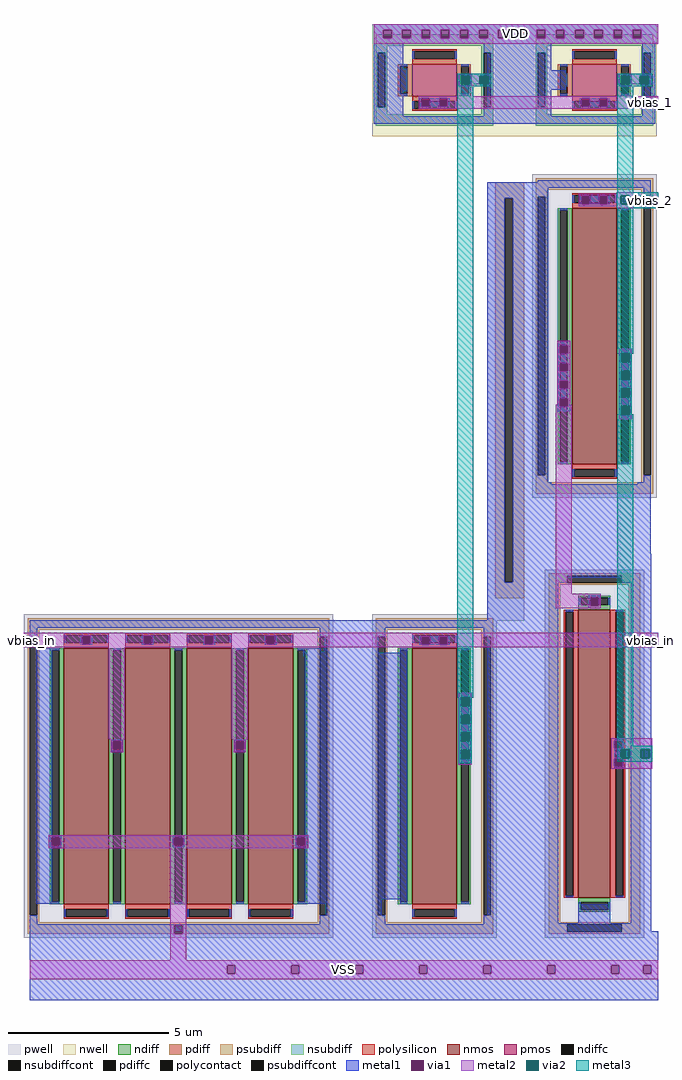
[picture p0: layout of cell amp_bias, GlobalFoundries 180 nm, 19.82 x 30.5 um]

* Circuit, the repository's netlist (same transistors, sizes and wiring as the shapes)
** sch_path: /foss/designs/ttgf-ece298-analog-op-amp/xschem/amp_bias.sch
.subckt amp_bias VDD vbias_in vbias_1 vbias_2 VSS
*.iopin VDD
*.iopin VSS
*.opin vbias_1
*.opin vbias_2
*.ipin vbias_in
XM1 vbias_in vbias_in VSS VSS nfet_03v3 L=1.4u W=32u nf=4 ad='int((nf+1)/2) * W/nf * 0.18u' as='int((nf+2)/2) * W/nf * 0.18u' pd='2*int((nf+1)/2) * (W/nf + 0.18u)'
+ ps='2*int((nf+2)/2) * (W/nf + 0.18u)' nrd='0.18u / W' nrs='0.18u / W' sa=0 sb=0 sd=0
XM3 vbias_1 vbias_in VSS VSS nfet_03v3 L=1.4u W=8u nf=1 ad='int((nf+1)/2) * W/nf * 0.18u' as='int((nf+2)/2) * W/nf * 0.18u' pd='2*int((nf+1)/2) * (W/nf + 0.18u)'
+ ps='2*int((nf+2)/2) * (W/nf + 0.18u)' nrd='0.18u / W' nrs='0.18u / W' sa=0 sb=0 sd=0
XM4 vbias_1 vbias_1 VDD VDD pfet_03v3 L=1.4u W=1u nf=1 ad='int((nf+1)/2) * W/nf * 0.18u' as='int((nf+2)/2) * W/nf * 0.18u' pd='2*int((nf+1)/2) * (W/nf + 0.18u)'
+ ps='2*int((nf+2)/2) * (W/nf + 0.18u)' nrd='0.18u / W' nrs='0.18u / W' sa=0 sb=0 sd=0
XM5 vbias_2 vbias_1 VDD VDD pfet_03v3 L=1.4u W=1u nf=1 ad='int((nf+1)/2) * W/nf * 0.18u' as='int((nf+2)/2) * W/nf * 0.18u' pd='2*int((nf+1)/2) * (W/nf + 0.18u)'
+ ps='2*int((nf+2)/2) * (W/nf + 0.18u)' nrd='0.18u / W' nrs='0.18u / W' sa=0 sb=0 sd=0
XM7 net1 vbias_2 VSS VSS nfet_03v3 L=9u W=1u nf=1 ad='int((nf+1)/2) * W/nf * 0.18u' as='int((nf+2)/2) * W/nf * 0.18u' pd='2*int((nf+1)/2) * (W/nf + 0.18u)'
+ ps='2*int((nf+2)/2) * (W/nf + 0.18u)' nrd='0.18u / W' nrs='0.18u / W' sa=0 sb=0 sd=0
XM8 vbias_2 vbias_2 net1 VSS nfet_03v3 L=1.4u W=8u nf=1 ad='int((nf+1)/2) * W/nf * 0.18u' as='int((nf+2)/2) * W/nf * 0.18u' pd='2*int((nf+1)/2) * (W/nf + 0.18u)'
+ ps='2*int((nf+2)/2) * (W/nf + 0.18u)' nrd='0.18u / W' nrs='0.18u / W' sa=0 sb=0 sd=0
.ends
.end

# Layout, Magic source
magic
tech gf180mcuD
magscale 1 10
<< nwell >>
rect 2480 -10950 4260 -10250
<< pwell >>
rect 3200 -13980 3430 -11240
<< psubdiff >>
rect 3250 -11340 3430 -11240
rect 3250 -13740 3310 -11340
rect 3358 -13740 3430 -11340
rect 3250 -13840 3430 -13740
<< psubdiffcont >>
rect 3310 -13740 3358 -11340
<< metal1 >>
rect 2490 -10286 4268 -10250
rect 2490 -10338 2550 -10286
rect 2602 -10338 2670 -10286
rect 2722 -10338 2790 -10286
rect 2842 -10338 2910 -10286
rect 2962 -10338 3030 -10286
rect 3082 -10338 3150 -10286
rect 3202 -10338 3270 -10286
rect 3322 -10338 3390 -10286
rect 3442 -10338 3510 -10286
rect 3562 -10338 3630 -10286
rect 3682 -10338 3750 -10286
rect 3802 -10338 3870 -10286
rect 3922 -10338 3990 -10286
rect 4042 -10338 4110 -10286
rect 4162 -10338 4268 -10286
rect 2490 -10373 4268 -10338
rect 2490 -10530 2676 -10373
rect 2490 -10670 2700 -10530
rect 3200 -10540 3600 -10373
rect 3200 -10560 3690 -10540
rect 3022 -10574 3102 -10560
rect 3022 -10626 3036 -10574
rect 3088 -10626 3102 -10574
rect 3022 -10640 3102 -10626
rect 3200 -10640 3700 -10560
rect 4022 -10574 4102 -10560
rect 4022 -10626 4036 -10574
rect 4088 -10626 4102 -10574
rect 4022 -10640 4102 -10626
rect 3200 -10660 3690 -10640
rect 2490 -10827 2676 -10670
rect 2775 -10766 2789 -10714
rect 2841 -10766 2899 -10714
rect 2951 -10766 2965 -10714
rect 3200 -10827 3600 -10660
rect 3775 -10766 3789 -10714
rect 3841 -10766 3899 -10714
rect 3951 -10766 3965 -10714
rect 4170 -10827 4250 -10373
rect 2490 -10873 4250 -10827
rect 3200 -11340 3580 -11240
rect 3200 -13740 3310 -11340
rect 3358 -13114 3580 -11340
rect 3775 -11376 3789 -11324
rect 3841 -11376 3899 -11324
rect 3951 -11376 3965 -11324
rect 3638 -12259 3718 -12230
rect 3638 -12311 3652 -12259
rect 3704 -12311 3718 -12259
rect 3638 -12369 3718 -12311
rect 3638 -12421 3652 -12369
rect 3704 -12421 3718 -12369
rect 3638 -12479 3718 -12421
rect 3638 -12531 3652 -12479
rect 3704 -12531 3718 -12479
rect 3638 -12589 3718 -12531
rect 3638 -12641 3652 -12589
rect 3704 -12641 3718 -12589
rect 3638 -12670 3718 -12641
rect 4022 -12309 4102 -12280
rect 4022 -12361 4036 -12309
rect 4088 -12361 4102 -12309
rect 4022 -12419 4102 -12361
rect 4022 -12471 4036 -12419
rect 4088 -12471 4102 -12419
rect 4022 -12529 4102 -12471
rect 4022 -12581 4036 -12529
rect 4088 -12581 4102 -12529
rect 4022 -12639 4102 -12581
rect 4022 -12691 4036 -12639
rect 4088 -12691 4102 -12639
rect 4022 -12720 4102 -12691
rect 3358 -13160 3600 -13114
rect 4140 -13160 4223 -13114
rect 3358 -13560 4223 -13160
rect 3358 -13710 4224 -13560
rect 3358 -13740 3630 -13710
rect 658 -14072 730 -14070
rect 1042 -14072 1114 -14070
rect 1426 -14072 1498 -14070
rect 1810 -14072 1882 -14070
rect 656 -14124 668 -14072
rect 720 -14124 732 -14072
rect 656 -14130 732 -14124
rect 1040 -14124 1052 -14072
rect 1104 -14124 1116 -14072
rect 1040 -14130 1116 -14124
rect 1424 -14124 1436 -14072
rect 1488 -14124 1500 -14072
rect 1424 -14130 1500 -14124
rect 1808 -14124 1820 -14072
rect 1872 -14124 1884 -14072
rect 1808 -14130 1884 -14124
rect 380 -15324 480 -14152
rect 2050 -14174 2160 -14152
rect 2180 -14174 2520 -13977
rect 2775 -14131 2789 -14079
rect 2841 -14131 2899 -14079
rect 2951 -14131 2965 -14079
rect 2050 -14180 2520 -14174
rect 2655 -14180 2701 -14152
rect 2050 -14202 2701 -14180
rect 2060 -14560 2701 -14202
rect 2060 -14640 2189 -14560
rect 2190 -14640 2701 -14560
rect 850 -14734 922 -14724
rect 850 -14786 860 -14734
rect 912 -14786 922 -14734
rect 850 -14796 922 -14786
rect 1618 -14734 1690 -14724
rect 1618 -14786 1628 -14734
rect 1680 -14786 1690 -14734
rect 1618 -14796 1690 -14786
rect 2060 -15324 2701 -14640
rect 3022 -14459 3102 -14430
rect 3022 -14511 3036 -14459
rect 3088 -14511 3102 -14459
rect 3022 -14569 3102 -14511
rect 3022 -14621 3036 -14569
rect 3088 -14621 3102 -14569
rect 3022 -14679 3102 -14621
rect 3022 -14731 3036 -14679
rect 3088 -14731 3102 -14679
rect 3022 -14789 3102 -14731
rect 3022 -14841 3036 -14789
rect 3088 -14841 3102 -14789
rect 3022 -14870 3102 -14841
rect 380 -15334 538 -15324
rect 380 -15386 476 -15334
rect 528 -15386 538 -15334
rect 380 -15396 538 -15386
rect 1234 -15334 1306 -15324
rect 1234 -15386 1244 -15334
rect 1296 -15386 1306 -15334
rect 1234 -15396 1306 -15386
rect 2002 -15334 2701 -15324
rect 2002 -15386 2012 -15334
rect 2064 -15386 2701 -15334
rect 2002 -15396 2701 -15386
rect 380 -15748 480 -15396
rect 2060 -15573 2701 -15396
rect 2060 -15748 2189 -15573
rect 2190 -15720 2701 -15573
rect 1232 -15884 1308 -15880
rect 1232 -15920 1244 -15884
rect 340 -15936 1244 -15920
rect 1296 -15920 1308 -15884
rect 2190 -15920 2540 -15720
rect 2655 -15748 2701 -15720
rect 3200 -15573 3630 -13740
rect 3830 -13834 3910 -13820
rect 3830 -13886 3844 -13834
rect 3896 -13886 3910 -13834
rect 3830 -13900 3910 -13886
rect 3994 -14729 4046 -14715
rect 3994 -14839 4046 -14781
rect 3994 -14905 4046 -14891
rect 3200 -15600 3620 -15573
rect 4140 -15600 4224 -13710
rect 3200 -15870 3630 -15600
rect 3770 -15870 3970 -15750
rect 4110 -15870 4224 -15600
rect 3200 -15920 4224 -15870
rect 1296 -15936 4268 -15920
rect 340 -16134 4268 -15936
rect 340 -16186 1574 -16134
rect 1626 -16186 1974 -16134
rect 2026 -16186 2374 -16134
rect 2426 -16186 2774 -16134
rect 2826 -16186 3174 -16134
rect 3226 -16186 3574 -16134
rect 3626 -16186 3974 -16134
rect 4026 -16186 4174 -16134
rect 4226 -16186 4268 -16134
rect 340 -16350 4268 -16186
<< via1 >>
rect 2550 -10338 2602 -10286
rect 2670 -10338 2722 -10286
rect 2790 -10338 2842 -10286
rect 2910 -10338 2962 -10286
rect 3030 -10338 3082 -10286
rect 3150 -10338 3202 -10286
rect 3270 -10338 3322 -10286
rect 3390 -10338 3442 -10286
rect 3510 -10338 3562 -10286
rect 3630 -10338 3682 -10286
rect 3750 -10338 3802 -10286
rect 3870 -10338 3922 -10286
rect 3990 -10338 4042 -10286
rect 4110 -10338 4162 -10286
rect 3036 -10626 3088 -10574
rect 4036 -10626 4088 -10574
rect 2789 -10766 2841 -10714
rect 2899 -10766 2951 -10714
rect 3789 -10766 3841 -10714
rect 3899 -10766 3951 -10714
rect 3789 -11376 3841 -11324
rect 3899 -11376 3951 -11324
rect 3652 -12311 3704 -12259
rect 3652 -12421 3704 -12369
rect 3652 -12531 3704 -12479
rect 3652 -12641 3704 -12589
rect 4036 -12361 4088 -12309
rect 4036 -12471 4088 -12419
rect 4036 -12581 4088 -12529
rect 4036 -12691 4088 -12639
rect 668 -14124 720 -14072
rect 1052 -14124 1104 -14072
rect 1436 -14124 1488 -14072
rect 1820 -14124 1872 -14072
rect 2789 -14131 2841 -14079
rect 2899 -14131 2951 -14079
rect 860 -14786 912 -14734
rect 1628 -14786 1680 -14734
rect 3036 -14511 3088 -14459
rect 3036 -14621 3088 -14569
rect 3036 -14731 3088 -14679
rect 3036 -14841 3088 -14789
rect 476 -15386 528 -15334
rect 1244 -15386 1296 -15334
rect 2012 -15386 2064 -15334
rect 1244 -15936 1296 -15884
rect 3844 -13886 3896 -13834
rect 3994 -14781 4046 -14729
rect 3994 -14891 4046 -14839
rect 1574 -16186 1626 -16134
rect 1974 -16186 2026 -16134
rect 2374 -16186 2426 -16134
rect 2774 -16186 2826 -16134
rect 3174 -16186 3226 -16134
rect 3574 -16186 3626 -16134
rect 3974 -16186 4026 -16134
rect 4174 -16186 4226 -16134
<< metal2 >>
rect 2490 -10286 4268 -10250
rect 2490 -10338 2550 -10286
rect 2602 -10338 2670 -10286
rect 2722 -10338 2790 -10286
rect 2842 -10338 2910 -10286
rect 2962 -10338 3030 -10286
rect 3082 -10338 3150 -10286
rect 3202 -10338 3270 -10286
rect 3322 -10338 3390 -10286
rect 3442 -10338 3510 -10286
rect 3562 -10338 3630 -10286
rect 3682 -10338 3750 -10286
rect 3802 -10338 3870 -10286
rect 3922 -10338 3990 -10286
rect 4042 -10338 4110 -10286
rect 4162 -10338 4268 -10286
rect 2490 -10373 4268 -10338
rect 3012 -10572 3224 -10560
rect 3012 -10628 3034 -10572
rect 3090 -10628 3154 -10572
rect 3210 -10628 3224 -10572
rect 4012 -10572 4230 -10560
rect 4012 -10628 4034 -10572
rect 4090 -10628 4154 -10572
rect 4210 -10628 4230 -10572
rect 3012 -10700 3112 -10628
rect 4012 -10700 4112 -10698
rect 2772 -10714 4268 -10700
rect 2772 -10766 2789 -10714
rect 2841 -10766 2899 -10714
rect 2951 -10766 3789 -10714
rect 3841 -10766 3899 -10714
rect 3951 -10766 4268 -10714
rect 2772 -10780 4268 -10766
rect 4010 -11310 4268 -11300
rect 3772 -11322 4268 -11310
rect 3772 -11324 4034 -11322
rect 3772 -11376 3789 -11324
rect 3841 -11376 3899 -11324
rect 3951 -11376 4034 -11324
rect 3772 -11378 4034 -11376
rect 4090 -11378 4160 -11322
rect 4216 -11378 4268 -11322
rect 3772 -11390 4268 -11378
rect 4010 -11400 4268 -11390
rect 3638 -12259 3718 -12230
rect 3638 -12311 3652 -12259
rect 3704 -12311 3718 -12259
rect 3638 -12369 3718 -12311
rect 3638 -12421 3652 -12369
rect 3704 -12421 3718 -12369
rect 3638 -12479 3718 -12421
rect 3638 -12531 3652 -12479
rect 3704 -12531 3718 -12479
rect 3638 -12589 3718 -12531
rect 3638 -12630 3652 -12589
rect 3628 -12641 3652 -12630
rect 3704 -12630 3718 -12589
rect 4022 -12307 4102 -12280
rect 4022 -12363 4034 -12307
rect 4090 -12363 4102 -12307
rect 4022 -12417 4102 -12363
rect 4022 -12473 4034 -12417
rect 4090 -12473 4102 -12417
rect 4022 -12527 4102 -12473
rect 4022 -12583 4034 -12527
rect 4090 -12583 4102 -12527
rect 3704 -12641 3728 -12630
rect 3628 -13810 3728 -12641
rect 4022 -12637 4102 -12583
rect 4022 -12693 4034 -12637
rect 4090 -12693 4102 -12637
rect 4022 -12720 4102 -12693
rect 3628 -13834 3910 -13810
rect 3628 -13886 3844 -13834
rect 3896 -13886 3910 -13834
rect 3628 -13900 3910 -13886
rect 304 -14072 4268 -14056
rect 304 -14124 668 -14072
rect 720 -14124 1052 -14072
rect 1104 -14124 1436 -14072
rect 1488 -14124 1820 -14072
rect 1872 -14079 4268 -14072
rect 1872 -14124 2789 -14079
rect 304 -14131 2789 -14124
rect 2841 -14131 2899 -14079
rect 2951 -14131 4268 -14079
rect 304 -14144 4268 -14131
rect 836 -14720 936 -14144
rect 1604 -14720 1704 -14144
rect 3020 -14457 3104 -14430
rect 3020 -14513 3034 -14457
rect 3090 -14513 3104 -14457
rect 3020 -14567 3104 -14513
rect 3020 -14623 3034 -14567
rect 3090 -14623 3104 -14567
rect 3020 -14677 3104 -14623
rect 848 -14734 924 -14720
rect 848 -14786 860 -14734
rect 912 -14786 924 -14734
rect 848 -14800 924 -14786
rect 1616 -14734 1692 -14720
rect 1616 -14786 1628 -14734
rect 1680 -14786 1692 -14734
rect 1616 -14800 1692 -14786
rect 3020 -14733 3034 -14677
rect 3090 -14733 3104 -14677
rect 3020 -14787 3104 -14733
rect 3020 -14843 3034 -14787
rect 3090 -14843 3104 -14787
rect 3020 -14880 3104 -14843
rect 3975 -14729 4230 -14715
rect 3975 -14781 3994 -14729
rect 4046 -14781 4230 -14729
rect 3975 -14782 4230 -14781
rect 3975 -14838 4034 -14782
rect 4090 -14838 4160 -14782
rect 4216 -14838 4230 -14782
rect 3975 -14839 4230 -14838
rect 3975 -14891 3994 -14839
rect 4046 -14891 4230 -14839
rect 3975 -14905 4230 -14891
rect 460 -15334 2080 -15320
rect 460 -15386 476 -15334
rect 528 -15386 1244 -15334
rect 1296 -15386 2012 -15334
rect 2064 -15386 2080 -15334
rect 460 -15400 2080 -15386
rect 1220 -15884 1320 -15400
rect 1220 -15936 1244 -15884
rect 1296 -15936 1320 -15884
rect 1220 -16100 1320 -15936
rect 340 -16134 4268 -16100
rect 340 -16186 1574 -16134
rect 1626 -16186 1974 -16134
rect 2026 -16186 2374 -16134
rect 2426 -16186 2774 -16134
rect 2826 -16186 3174 -16134
rect 3226 -16186 3574 -16134
rect 3626 -16186 3974 -16134
rect 4026 -16186 4174 -16134
rect 4226 -16186 4268 -16134
rect 340 -16220 4268 -16186
<< via2 >>
rect 3034 -10574 3090 -10572
rect 3034 -10626 3036 -10574
rect 3036 -10626 3088 -10574
rect 3088 -10626 3090 -10574
rect 3034 -10628 3090 -10626
rect 3154 -10628 3210 -10572
rect 4034 -10574 4090 -10572
rect 4034 -10626 4036 -10574
rect 4036 -10626 4088 -10574
rect 4088 -10626 4090 -10574
rect 4034 -10628 4090 -10626
rect 4154 -10628 4210 -10572
rect 4034 -11378 4090 -11322
rect 4160 -11378 4216 -11322
rect 4034 -12309 4090 -12307
rect 4034 -12361 4036 -12309
rect 4036 -12361 4088 -12309
rect 4088 -12361 4090 -12309
rect 4034 -12363 4090 -12361
rect 4034 -12419 4090 -12417
rect 4034 -12471 4036 -12419
rect 4036 -12471 4088 -12419
rect 4088 -12471 4090 -12419
rect 4034 -12473 4090 -12471
rect 4034 -12529 4090 -12527
rect 4034 -12581 4036 -12529
rect 4036 -12581 4088 -12529
rect 4088 -12581 4090 -12529
rect 4034 -12583 4090 -12581
rect 4034 -12639 4090 -12637
rect 4034 -12691 4036 -12639
rect 4036 -12691 4088 -12639
rect 4088 -12691 4090 -12639
rect 4034 -12693 4090 -12691
rect 3034 -14459 3090 -14457
rect 3034 -14511 3036 -14459
rect 3036 -14511 3088 -14459
rect 3088 -14511 3090 -14459
rect 3034 -14513 3090 -14511
rect 3034 -14569 3090 -14567
rect 3034 -14621 3036 -14569
rect 3036 -14621 3088 -14569
rect 3088 -14621 3090 -14569
rect 3034 -14623 3090 -14621
rect 3034 -14679 3090 -14677
rect 3034 -14731 3036 -14679
rect 3036 -14731 3088 -14679
rect 3088 -14731 3090 -14679
rect 3034 -14733 3090 -14731
rect 3034 -14789 3090 -14787
rect 3034 -14841 3036 -14789
rect 3036 -14841 3088 -14789
rect 3088 -14841 3090 -14789
rect 3034 -14843 3090 -14841
rect 4034 -14838 4090 -14782
rect 4160 -14838 4216 -14782
<< metal3 >>
rect 3012 -10572 3224 -10560
rect 3012 -10628 3034 -10572
rect 3090 -10628 3154 -10572
rect 3210 -10628 3224 -10572
rect 3012 -10640 3224 -10628
rect 4012 -10572 4230 -10560
rect 4012 -10628 4034 -10572
rect 4090 -10628 4154 -10572
rect 4210 -10628 4230 -10572
rect 4012 -10640 4230 -10628
rect 3012 -14457 3112 -10640
rect 4012 -11300 4112 -10640
rect 4010 -11322 4268 -11300
rect 4010 -11378 4034 -11322
rect 4090 -11378 4160 -11322
rect 4216 -11378 4268 -11322
rect 4010 -11400 4268 -11378
rect 4012 -12307 4112 -11400
rect 4012 -12310 4034 -12307
rect 4022 -12363 4034 -12310
rect 4090 -12310 4112 -12307
rect 4090 -12363 4102 -12310
rect 4022 -12417 4102 -12363
rect 4022 -12473 4034 -12417
rect 4090 -12473 4102 -12417
rect 4022 -12527 4102 -12473
rect 4022 -12583 4034 -12527
rect 4090 -12583 4102 -12527
rect 4022 -12637 4102 -12583
rect 4022 -12690 4034 -12637
rect 3012 -14460 3034 -14457
rect 3022 -14513 3034 -14460
rect 3090 -14460 3112 -14457
rect 4012 -12693 4034 -12690
rect 4090 -12690 4102 -12637
rect 4090 -12693 4112 -12690
rect 3090 -14513 3102 -14460
rect 3022 -14567 3102 -14513
rect 3022 -14623 3034 -14567
rect 3090 -14623 3102 -14567
rect 3022 -14677 3102 -14623
rect 3022 -14733 3034 -14677
rect 3090 -14733 3102 -14677
rect 3022 -14787 3102 -14733
rect 3022 -14843 3034 -14787
rect 3090 -14843 3102 -14787
rect 3022 -14870 3102 -14843
rect 4012 -14760 4112 -12693
rect 4012 -14782 4230 -14760
rect 4012 -14838 4034 -14782
rect 4090 -14838 4160 -14782
rect 4216 -14838 4230 -14782
rect 4012 -14860 4230 -14838
use nfet_03v3_8EAYTP  M1 /foss/designs/ttgf-ece298-analog-op-amp/mag
transform 1 0 1270 0 1 -14950
box -966 -1010 966 1010
use nfet_03v3_9XYV5A  M3 /foss/designs/ttgf-ece298-analog-op-amp/mag
transform 1 0 2870 0 1 -14950
box -390 -1010 390 1010
use pfet_03v3_TY6H95  M4 /foss/designs/ttgf-ece298-analog-op-amp/mag
transform 1 0 2870 0 1 -10600
box -390 -310 390 310
use pfet_03v3_TY6H95  M5
transform 1 0 3870 0 1 -10600
box -390 -310 390 310
use nfet_03v3_QX7UNH  M7 /foss/designs/ttgf-ece298-analog-op-amp/mag
transform 0 1 3870 -1 0 -14810
box -1150 -310 1150 310
use nfet_03v3_9XYV5A  M8
transform 1 0 3870 0 1 -12200
box -390 -1010 390 1010
<< labels >>
rlabel metal2 2490 -10373 4268 -10250 0 VDD
port 1 nsew power bidirectional
rlabel metal2 340 -16220 4268 -16100 0 VSS
port 2 nsew ground bidirectional
rlabel metal2 4168 -14130 4268 -14070 3 vbias_in
port 3 e
rlabel metal2 304 -14130 404 -14070 7 vbias_in
port 3 w
rlabel metal2 4168 -10780 4268 -10700 0 vbias_1
port 4 nsew
rlabel metal2 4168 -11390 4268 -11310 0 vbias_2
port 5 nsew
<< end >>

# cell nfet_03v3_8EAYTP: kit device nfet_03v3, w 8.0 l 1.4 m 1 nf 4 diffcov 100 polycov 100 guard 1 glc 1 grc 1 gtc 0 gbc 0 tbcov 100 rlcov 100 topc 1 botc 1 poverlap 0 doverlap 1 lmin 0.28 wmin 0.22 class mosfet full_metal 1 compatible {nfet_03v3 nfet_05v0 nfet_06v0 nfet_06v0_nvt}

# cell nfet_03v3_9XYV5A: kit device nfet_03v3, w 8.0 l 1.4 m 1 nf 1 diffcov 100 polycov 100 guard 1 glc 1 grc 1 gtc 0 gbc 0 tbcov 100 rlcov 100 topc 1 botc 1 poverlap 0 doverlap 1 lmin 0.28 wmin 0.22 class mosfet full_metal 1 compatible {nfet_03v3 nfet_05v0 nfet_06v0 nfet_06v0_nvt}

# cell pfet_03v3_TY6H95: kit device pfet_03v3, w 1.0 l 1.4 m 1 nf 1 diffcov 100 polycov 100 guard 1 glc 1 grc 1 gtc 0 gbc 0 tbcov 100 rlcov 100 topc 1 botc 1 poverlap 0 doverlap 1 lmin 0.28 wmin 0.22 class mosfet full_metal 1 compatible {pfet_03v3 pfet_05v0 pfet_06v0}

# cell nfet_03v3_QX7UNH: kit device nfet_03v3, w 1.0 l 9.0 m 1 nf 1 diffcov 100 polycov 100 guard 1 glc 1 grc 1 gtc 0 gbc 0 tbcov 100 rlcov 100 topc 1 botc 1 poverlap 0 doverlap 1 lmin 0.28 wmin 0.22 class mosfet full_metal 1 compatible {nfet_03v3 nfet_05v0 nfet_06v0 nfet_06v0_nvt}
